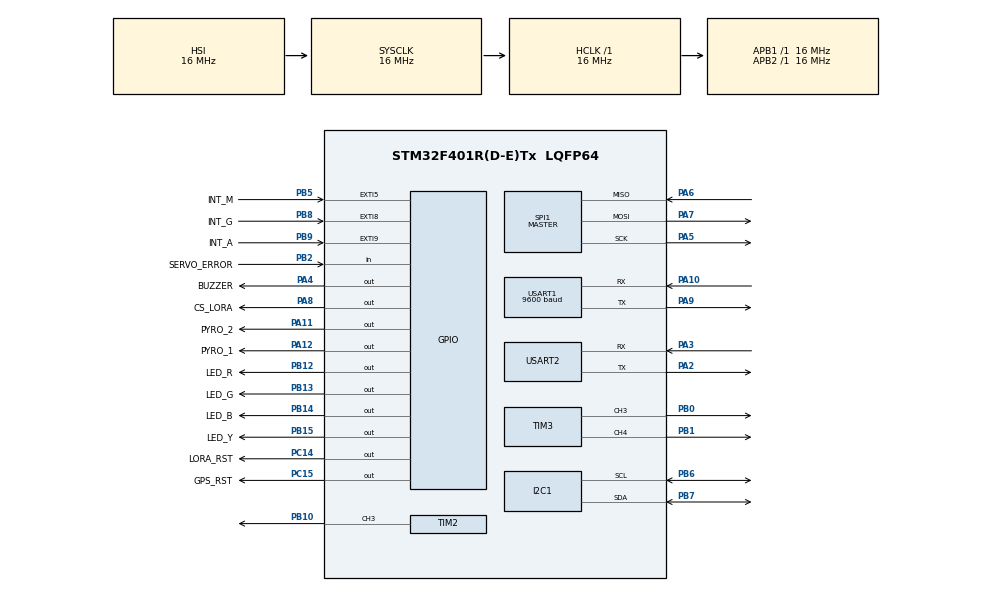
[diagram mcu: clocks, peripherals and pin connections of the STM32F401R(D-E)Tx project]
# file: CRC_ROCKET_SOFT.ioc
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FREERTOS.Queues01=AccGyroQueue,32,float,0,Dynamic,NULL,NULL;PressQueue,32,float,0,Dynamic,NULL,NULL;GPSQueue,32,float,0,Dynamic,NULL,NULL;ServoQueue,32,float,0,Dynamic,NULL,NULL;LoRaRXQueue,8,uint8_t,0,Dynamic,NULL,NULL;LoRaTXQueue,8,uint8_t,0,Dynamic,NULL,NULL
FREERTOS.Tasks01=AccGyroTask,24,128,AccGyroFunc,Default,NULL,Dynamic,NULL,NULL;PressTask,8,128,PressFunc,Default,NULL,Dynamic,NULL,NULL;GPSTask,8,128,GPSFunc,Default,NULL,Dynamic,NULL,NULL;ServoTask,8,128,ServoFunc,Default,NULL,Dynamic,NULL,NULL;LoRaTask,8,128,LoRaFunc,Default,NULL,Dynamic,NULL,NULL;MissionControlT,8,128,MissionControlFunc,Default,NULL,Dynamic,NULL,NULL
Mcu.Family=STM32F4
Mcu.Name=STM32F401R(D-E)Tx
Mcu.Package=LQFP64
NVIC.PriorityGroup=NVIC_PRIORITYGROUP_4
NVIC.TIM1_TRG_COM_TIM11_IRQn=true\:15\:0\:false\:false\:true\:false\:false\:true\:true
NVIC.TimeBase=TIM1_TRG_COM_TIM11_IRQn
NVIC.TimeBaseIP=TIM11
NVIC.USART1_IRQn=true\:5\:0\:false\:false\:true\:true\:true\:true\:true
PA10.Mode=Asynchronous
PA10.Signal=USART1_RX
PA11.GPIO_Label=PYRO_2
PA11.Signal=GPIO_Output
PA12.GPIO_Label=PYRO_1
PA12.Signal=GPIO_Output
PA2.Mode=Asynchronous
PA2.Signal=USART2_TX
PA3.Mode=Asynchronous
PA3.Signal=USART2_RX
PA4.GPIO_Label=BUZZER
PA4.Signal=GPIO_Output
PA5.Mode=Full_Duplex_Master
PA5.Signal=SPI1_SCK
PA6.Mode=Full_Duplex_Master
PA6.Signal=SPI1_MISO
PA7.Mode=Full_Duplex_Master
PA7.Signal=SPI1_MOSI
PA8.GPIO_Label=CS_LORA
PA8.Signal=GPIO_Output
PA9.Mode=Asynchronous
PA9.Signal=USART1_TX
PB0.Signal=S_TIM3_CH3
PB1.Signal=S_TIM3_CH4
PB10.Signal=S_TIM2_CH3
PB12.GPIO_Label=LED_R
PB12.Signal=GPIO_Output
PB13.GPIO_Label=LED_G
PB13.Signal=GPIO_Output
PB14.GPIO_Label=LED_B
PB14.Signal=GPIO_Output
PB15.GPIO_Label=LED_Y
PB15.Signal=GPIO_Output
PB2.GPIO_Label=SERVO_ERROR
PB2.Signal=GPIO_Input
PB5.GPIO_Label=INT_M
PB5.Signal=GPXTI5
PB6.Mode=I2C
PB6.Signal=I2C1_SCL
PB7.Mode=I2C
PB7.Signal=I2C1_SDA
PB8.GPIO_Label=INT_G
PB8.Signal=GPXTI8
PB9.GPIO_Label=INT_A
PB9.Signal=GPXTI9
PC14-OSC32_IN.GPIO_Label=LORA_RST
PC14-OSC32_IN.Signal=GPIO_Output
PC15-OSC32_OUT.GPIO_Label=GPS_RST
PC15-OSC32_OUT.Signal=GPIO_Output
ProjectManager.HeapSize=0x200
ProjectManager.StackSize=0x400
ProjectManager.TargetToolchain=CMake
RCC.AHBFreq_Value=16000000
RCC.APB1Freq_Value=16000000
RCC.APB1TimFreq_Value=16000000
RCC.APB2Freq_Value=16000000
RCC.APB2TimFreq_Value=16000000
RCC.CortexFreq_Value=16000000
RCC.HCLKFreq_Value=16000000
RCC.HSE_VALUE=25000000
RCC.HSI_VALUE=16000000
RCC.LSE_VALUE=32768
RCC.SYSCLKFreq_VALUE=16000000
RCC.VCOOutputFreq_Value=192000000
SH.S_TIM2_CH3.0=TIM2_CH3,PWM Generation3 CH3
SH.S_TIM3_CH3.0=TIM3_CH3,PWM Generation3 CH3
SH.S_TIM3_CH4.0=TIM3_CH4,PWM Generation4 CH4
SPI1.Direction=SPI_DIRECTION_2LINES
SPI1.Mode=SPI_MODE_MASTER
SPI1.VirtualType=VM_MASTER
TIM2.Channel-PWM\ Generation3\ CH3=TIM_CHANNEL_3
TIM3.Channel-PWM\ Generation3\ CH3=TIM_CHANNEL_3
TIM3.Channel-PWM\ Generation4\ CH4=TIM_CHANNEL_4
USART1.BaudRate=9600
USART1.VirtualMode=VM_ASYNC
USART2.VirtualMode=VM_ASYNC
VP_FREERTOS_VS_CMSIS_V2.Mode=CMSIS_V2
VP_SYS_VS_tim11.Mode=TIM11
board=custom

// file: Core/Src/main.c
/* USER CODE BEGIN Header */
/**
 ******************************************************************************
 * @file           : main.c
 * @brief          : Main program body
 ******************************************************************************
 * @attention
 *
 * Copyright (c) 2025 STMicroelectronics.
 * All rights reserved.
 *
 * This software is licensed under terms that can be found in the LICENSE file
 * in the root directory of this software component.
 * If no LICENSE file comes with this software, it is provided AS-IS.
 *
 ******************************************************************************
 */
/* USER CODE END Header */
#include "main.h"
#include "cmsis_os.h"
#include "i2c.h"
#include "spi.h"
#include "tim.h"
#include "usart.h"
#include "gpio.h"

/* USER CODE BEGIN Includes */
#include <stdio.h>
/* USER CODE END Includes */

void SystemClock_Config(void);
void MX_FREERTOS_Init(void);

// /* USER CODE BEGIN 0 */
// uint8_t buf = 69;
/* USER CODE END 0 */

int main(void)
{

  /* MCU Configuration--------------------------------------------------------*/

  /* Reset of all peripherals, Initializes the Flash interface and the Systick. */
  HAL_Init();

  /* Configure the system clock */
  SystemClock_Config();

  /* Initialize all configured peripherals */
  MX_GPIO_Init();
  MX_I2C1_Init();
  MX_SPI1_Init();
  MX_TIM2_Init();
  MX_TIM3_Init();
  MX_USART1_UART_Init();
  MX_USART2_UART_Init();

  /* Init scheduler */
  osKernelInitialize();

  /* Call init function for freertos objects (in cmsis_os2.c) */
  MX_FREERTOS_Init();

  /* Start scheduler */
  osKernelStart();

  /* We should never get here as control is now taken by the scheduler */

  /* Infinite loop */
  /* USER CODE BEGIN WHILE */

  while (1)
  {
    // if (HAL_UART_Receive_IT(&huart1, &buf, 1) == HAL_OK)
    //   ;
    /* USER CODE END WHILE */

  }
}

void SystemClock_Config(void)
{
  RCC_OscInitTypeDef RCC_OscInitStruct = {0};
  RCC_ClkInitTypeDef RCC_ClkInitStruct = {0};

  /** Configure the main internal regulator output voltage
   */
  __HAL_RCC_PWR_CLK_ENABLE();
  __HAL_PWR_VOLTAGESCALING_CONFIG(PWR_REGULATOR_VOLTAGE_SCALE2);

  /** Initializes the RCC Oscillators according to the specified parameters
   * in the RCC_OscInitTypeDef structure.
   */
  RCC_OscInitStruct.OscillatorType = RCC_OSCILLATORTYPE_HSI;
  RCC_OscInitStruct.HSIState = RCC_HSI_ON;
  RCC_OscInitStruct.HSICalibrationValue = RCC_HSICALIBRATION_DEFAULT;
  RCC_OscInitStruct.PLL.PLLState = RCC_PLL_NONE;
  if (HAL_RCC_OscConfig(&RCC_OscInitStruct) != HAL_OK)
  {
    Error_Handler();
  }

  /** Initializes the CPU, AHB and APB buses clocks
   */
  RCC_ClkInitStruct.ClockType = RCC_CLOCKTYPE_HCLK | RCC_CLOCKTYPE_SYSCLK | RCC_CLOCKTYPE_PCLK1 | RCC_CLOCKTYPE_PCLK2;
  RCC_ClkInitStruct.SYSCLKSource = RCC_SYSCLKSOURCE_HSI;
  RCC_ClkInitStruct.AHBCLKDivider = RCC_SYSCLK_DIV1;
  RCC_ClkInitStruct.APB1CLKDivider = RCC_HCLK_DIV1;
  RCC_ClkInitStruct.APB2CLKDivider = RCC_HCLK_DIV1;

  if (HAL_RCC_ClockConfig(&RCC_ClkInitStruct, FLASH_LATENCY_0) != HAL_OK)
  {
    Error_Handler();
  }
}

/* USER CODE BEGIN 4 */

// void HAL_UART_RxCpltCallback(UART_HandleTypeDef *huart)
// {
//   if (huart->Instance == USART1)
//   {
//     HAL_UART_Receive_IT(&huart1, &buf, 1);
//   }
// }
/* USER CODE END 4 */

void HAL_TIM_PeriodElapsedCallback(TIM_HandleTypeDef *htim)
{
  if (htim->Instance == TIM11)
  {
    HAL_IncTick();
  }
}

void Error_Handler(void)
{
  __disable_irq();
  while (1)
  {
  }
}

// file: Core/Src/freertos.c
/* USER CODE BEGIN Header */
/**
 ******************************************************************************
 * File Name          : freertos.c
 * Description        : Code for freertos applications
 ******************************************************************************
 * @attention
 *
 * Copyright (c) 2025 STMicroelectronics.
 * All rights reserved.
 *
 * This software is licensed under terms that can be found in the LICENSE file
 * in the root directory of this software component.
 * If no LICENSE file comes with this software, it is provided AS-IS.
 *
 ******************************************************************************
 */
/* USER CODE END Header */

#include "FreeRTOS.h"
#include "task.h"
#include "main.h"
#include "cmsis_os.h"
#include "main.h"
#include "task.h"

/* USER CODE BEGIN Includes */
#include "LoRa.h"
#include "bmp280.h"
#include "config.h"
#include "i2c.h"
#include "mission_control.h"
#include "spi.h"
#include "gps.h"
#include "imu.h"
#include "usart.h"
#include <stdio.h>
#include <string.h>
/* USER CODE END Includes */

/* USER CODE BEGIN PTD */
struct bmp_data
{
  float pressure;
  float temperature;
  float humidity;
};
/* USER CODE END PTD */

/* USER CODE BEGIN Variables */
static uint8_t flight_status = ASCENT;
extern UART_HandleTypeDef huart2;
static mission_struct mission;
osMutexId_t mission_mutex;
const osMutexAttr_t mission_mutex_attr = {
    .name = "missionMutex"};
osMutexId_t i2c_mutex;
const osMutexAttr_t i2c_mutex_attr = {
    .name = "i2cMutex"};

// ESP32 COMMUNICATION BUFFERS
static uint8_t buf;
static uint8_t rec_buf[256];

/* USER CODE END Variables */
/* Definitions for AccGyroTask */
osThreadId_t AccGyroTaskHandle;
const osThreadAttr_t AccGyroTask_attributes = {
    .name = "AccGyroTask",
    .stack_size = 128 * 4,
    .priority = (osPriority_t)osPriorityNormal,
};
/* Definitions for PressTask */
osThreadId_t PressTaskHandle;
const osThreadAttr_t PressTask_attributes = {
    .name = "PressTask",
    .stack_size = 128 * 4,
    .priority = (osPriority_t)osPriorityLow,
};
/* Definitions for GPSTask */
osThreadId_t GPSTaskHandle;
const osThreadAttr_t GPSTask_attributes = {
    .name = "GPSTask",
    .stack_size = 128 * 4,
    .priority = (osPriority_t)osPriorityLow,
};
/* Definitions for ServoTask */
osThreadId_t ServoTaskHandle;
const osThreadAttr_t ServoTask_attributes = {
    .name = "ServoTask",
    .stack_size = 128 * 4,
    .priority = (osPriority_t)osPriorityLow,
};
/* Definitions for LoRaTask */
osThreadId_t LoRaTaskHandle;
const osThreadAttr_t LoRaTask_attributes = {
    .name = "LoRaTask",
    .stack_size = 128 * 4,
    .priority = (osPriority_t)osPriorityLow,
};
/* Definitions for MissionControlT */
osThreadId_t MissionControlTHandle;
const osThreadAttr_t MissionControlT_attributes = {
    .name = "MissionControlT",
    .stack_size = 128 * 4,
    .priority = (osPriority_t)osPriorityLow,
};
/* Definitions for AccGyroQueue */
osMessageQueueId_t AccGyroQueueHandle;
const osMessageQueueAttr_t AccGyroQueue_attributes = {
    .name = "AccGyroQueue"};
/* Definitions for PressQueue */
osMessageQueueId_t PressQueueHandle;
const osMessageQueueAttr_t PressQueue_attributes = {
    .name = "PressQueue"};
/* Definitions for GPSQueue */
osMessageQueueId_t GPSQueueHandle;
const osMessageQueueAttr_t GPSQueue_attributes = {
    .name = "GPSQueue"};
/* Definitions for ServoQueue */
osMessageQueueId_t ServoQueueHandle;
const osMessageQueueAttr_t ServoQueue_attributes = {
    .name = "ServoQueue"};
/* Definitions for LoRaRXQueue */
osMessageQueueId_t LoRaRXQueueHandle;
const osMessageQueueAttr_t LoRaRXQueue_attributes = {
    .name = "LoRaRXQueue"};
/* Definitions for LoRaTXQueue */
osMessageQueueId_t LoRaTXQueueHandle;
const osMessageQueueAttr_t LoRaTXQueue_attributes = {
    .name = "LoRaTXQueue"};

/* USER CODE BEGIN FunctionPrototypes */
/* USER CODE BEGIN Application */

/* USER CODE END FunctionPrototypes */

void AccGyroFunc(void *argument);
void PressFunc(void *argument);
void GPSFunc(void *argument);
void ServoFunc(void *argument);
void LoRaFunc(void *argument);
void MissionControlFunc(void *argument);

void MX_FREERTOS_Init(void); /* (MISRA C 2004 rule 8.1) */

void MX_FREERTOS_Init(void)
{

  /* USER CODE BEGIN RTOS_MUTEX */
  /* add mutexes, ... */
  i2c_mutex = osMutexNew(&i2c_mutex_attr);
  mission_mutex = osMutexNew(&mission_mutex_attr);
  /* USER CODE END RTOS_MUTEX */

  /* Create the queue(s) */
  /* creation of AccGyroQueue */
  AccGyroQueueHandle =
      osMessageQueueNew(32, sizeof(float), &AccGyroQueue_attributes);

  /* creation of PressQueue */
  PressQueueHandle =
      osMessageQueueNew(32, sizeof(float), &PressQueue_attributes);

  /* creation of GPSQueue */
  GPSQueueHandle = osMessageQueueNew(32, sizeof(float), &GPSQueue_attributes);

  /* creation of ServoQueue */
  ServoQueueHandle =
      osMessageQueueNew(32, sizeof(float), &ServoQueue_attributes);

  /* creation of LoRaRXQueue */
  LoRaRXQueueHandle =
      osMessageQueueNew(8, sizeof(uint8_t), &LoRaRXQueue_attributes);

  /* creation of LoRaTXQueue */
  LoRaTXQueueHandle =
      osMessageQueueNew(8, sizeof(uint8_t), &LoRaTXQueue_attributes);

  /* Create the thread(s) */
  /* creation of AccGyroTask */
  AccGyroTaskHandle = osThreadNew(AccGyroFunc, NULL, &AccGyroTask_attributes);

  /* creation of PressTask */
  PressTaskHandle = osThreadNew(PressFunc, NULL, &PressTask_attributes);

  /* creation of GPSTask */
  GPSTaskHandle = osThreadNew(GPSFunc, NULL, &GPSTask_attributes);

  /* creation of ServoTask */
  ServoTaskHandle = osThreadNew(ServoFunc, NULL, &ServoTask_attributes);

  /* creation of LoRaTask */
  LoRaTaskHandle = osThreadNew(LoRaFunc, NULL, &LoRaTask_attributes);

  /* creation of MissionControlT */
  MissionControlTHandle =
      osThreadNew(MissionControlFunc, NULL, &MissionControlT_attributes);

}

void AccGyroFunc(void *argument)
{
  /* USER CODE BEGIN AccGyroFunc */

  GY85 imu;
  osMutexAcquire(i2c_mutex, osWaitForever);
  I2C_ResetBus(&hi2c1);
  if (hi2c1.State != HAL_I2C_STATE_READY)
  {
    I2C_ResetBus(&hi2c1);
  }
  osMutexRelease(i2c_mutex);
#ifdef USE_IMU
  osMutexAcquire(i2c_mutex, osWaitForever);
  if (!GY85_Init(&imu, &hi2c1))
  {
    flight_status = GY85_INIT_ERROR;
  }
  osMutexRelease(i2c_mutex);
#endif
  /* Infinite loop */
  for (;;)
  {
#ifdef USE_IMU
    osMutexAcquire(i2c_mutex, osWaitForever);
    GY85_ReadAccel(&imu);
    GY85_ReadGyro(&imu);
    GY85_ReadMag(&imu);
    osMutexRelease(i2c_mutex);
    osMutexAcquire(mission_mutex, osWaitForever);
    mission.ax = imu.accel[0];
    mission.ay = imu.accel[1];
    mission.az = imu.accel[2];

    mission.gx = imu.gyro[0];
    mission.gy = imu.gyro[1];
    mission.gz = imu.gyro[2];

    mission.mx = imu.mag[0];
    mission.my = imu.mag[1];
    mission.mz = imu.mag[2];
    osMutexRelease(mission_mutex);
#endif
    osDelay(1);
  }
  /* USER CODE END AccGyroFunc */
}

void PressFunc(void *argument)
{
  /* USER CODE BEGIN PressFunc */
  BMP280_HandleTypedef bmp280;
  bmp280_init_default_params(&bmp280.params);
  bmp280.addr = BMP280_I2C_ADDRESS_0;
  bmp280.i2c = &hi2c1;

  struct bmp_data bmp_data;

#ifdef USE_BMP280
  osMutexAcquire(i2c_mutex, osWaitForever);
  if (!bmp280_init(&bmp280, &bmp280.params))
  {
    flight_status = BMP_INIT_ERROR;
  }
  osMutexRelease(i2c_mutex);
#endif
  /* Infinite loop */
  for (;;)
  {
#ifdef USE_BMP280
    osMutexAcquire(i2c_mutex, osWaitForever);
    bmp280_read_float(&bmp280, &bmp_data.temperature, &bmp_data.pressure,
                      &bmp_data.humidity);
    osMutexRelease(i2c_mutex);
    osMutexAcquire(mission_mutex, osWaitForever);
    mission.temperature = bmp_data.temperature;
    mission.pressure = bmp_data.pressure;
    mission.humidity = bmp_data.humidity;
    osMutexRelease(mission_mutex);
#endif
    osDelay(1);
  }
  /* USER CODE END PressFunc */
}

void GPSFunc(void *argument)
{
  /* USER CODE BEGIN GPSFunc */
  char latitude[16];
  char longitude[16];
#ifdef USE_GPS
  GPS_Init(&huart2);
#endif
  /* Infinite loop */
  for (;;)
  {
#ifdef USE_GPS
    GPS_Process();
    strcpy(latitude, gps_data.latitude);
    strcpy(longitude, gps_data.longitude);
    osMutexAcquire(mission_mutex, osWaitForever);
    strcpy(latitude, mission.latitude);
    strcpy(longitude, mission.longitude);
    osMutexRelease(mission_mutex);
#endif
    osDelay(1);
  }
  /* USER CODE END GPSFunc */
}

void ServoFunc(void *argument)
{
  for (;;)
  {
    osDelay(1);
  }
}

void LoRaFunc(void *argument)
{
  /* USER CODE BEGIN LoRaFunc */
  LoRa lora;
  lora.hspi = &hspi1;
  lora.nss_port = CS_LORA_GPIO_Port;
  lora.nss_pin = CS_LORA_Pin;
  lora.reset_port = LORA_RST_GPIO_Port;
  lora.reset_pin = LORA_RST_Pin;
  // uint8_t buf = 69; // Moved as a static variable
  // uint8_t rec_buf[256]; // Moved as a static variable
#ifdef USE_LORA
  LoRa_Init(&lora);
  LoRa_ReceiveContinuous(&lora);
#endif

#ifdef USE_ESP
  HAL_UART_Receive_IT(&huart1, &buf, 1);
#endif
  /* Infinite loop */
  for (;;)
  {
#ifdef USE_LORA
    osMutexAcquire(mission_mutex, osWaitForever);
    if (mission.send_data)
    {
      mission.send_data = false;
      memcpy(rec_buf, &mission, sizeof(mission));
      LoRa_SendPacket(&lora, rec_buf, sizeof(mission));
      osMutexRelease(mission_mutex);
      LoRa_ReceiveContinuous(&lora);
    }
    else
    {
      int len = LoRa_ReceivePacket(&lora, &buf, sizeof(buf));
      if (buf != 69)
      {
        mission.lora_cmd = buf;
        buf = 69;
        mission.new_cmd_arrived = true;
      }
      else
      {
        mission.lora_cmd = buf;
        mission.new_cmd_arrived = false;
      }
      osMutexRelease(mission_mutex);
    }
#endif

#ifdef USE_ESP
    osMutexAcquire(mission_mutex, osWaitForever);
    if (mission.send_data)
    {
      mission.send_data = false;
      MissionToString(mission, rec_buf);
      HAL_UART_Transmit_IT(&huart1, (uint8_t *)rec_buf, strlen(rec_buf));
    }
    else
    {
      if (buf != 69)
      {
        mission.lora_cmd = buf;
        // buf = 69;
        mission.new_cmd_arrived = true;
      }
      else
      {
        mission.lora_cmd = buf;
        mission.new_cmd_arrived = false;
      }
      osMutexRelease(mission_mutex);
    }
#endif
  }
  osDelay(1);
  /* USER CODE END LoRaFunc */
}

void MissionControlFunc(void *argument)
{
  /* USER CODE BEGIN MissionControlFunc */

  /* Infinite loop */
  for (;;)
  {
    osMutexAcquire(mission_mutex, osWaitForever);
    if (mission.new_cmd_arrived)
    {
      ReactToCommand(mission.lora_cmd, &flight_status, mission);
      mission.new_cmd_arrived = false;
    }
    flight_status = StateMachine(flight_status, mission);
    osMutexRelease(mission_mutex);
    osDelay(1);
  }
  /* USER CODE END MissionControlFunc */
}

void HAL_UART_RxCpltCallback(UART_HandleTypeDef *huart)
{
  if (huart->Instance == USART1)
  {
    HAL_UART_Receive_IT(&huart1, &buf, 1);
  }
}

void HAL_UART_TxCpltCallback(UART_HandleTypeDef *huart)
{
  if (huart->Instance == USART1)
  {
    osMutexRelease(mission_mutex);
  }
}
/* USER CODE END Application */
